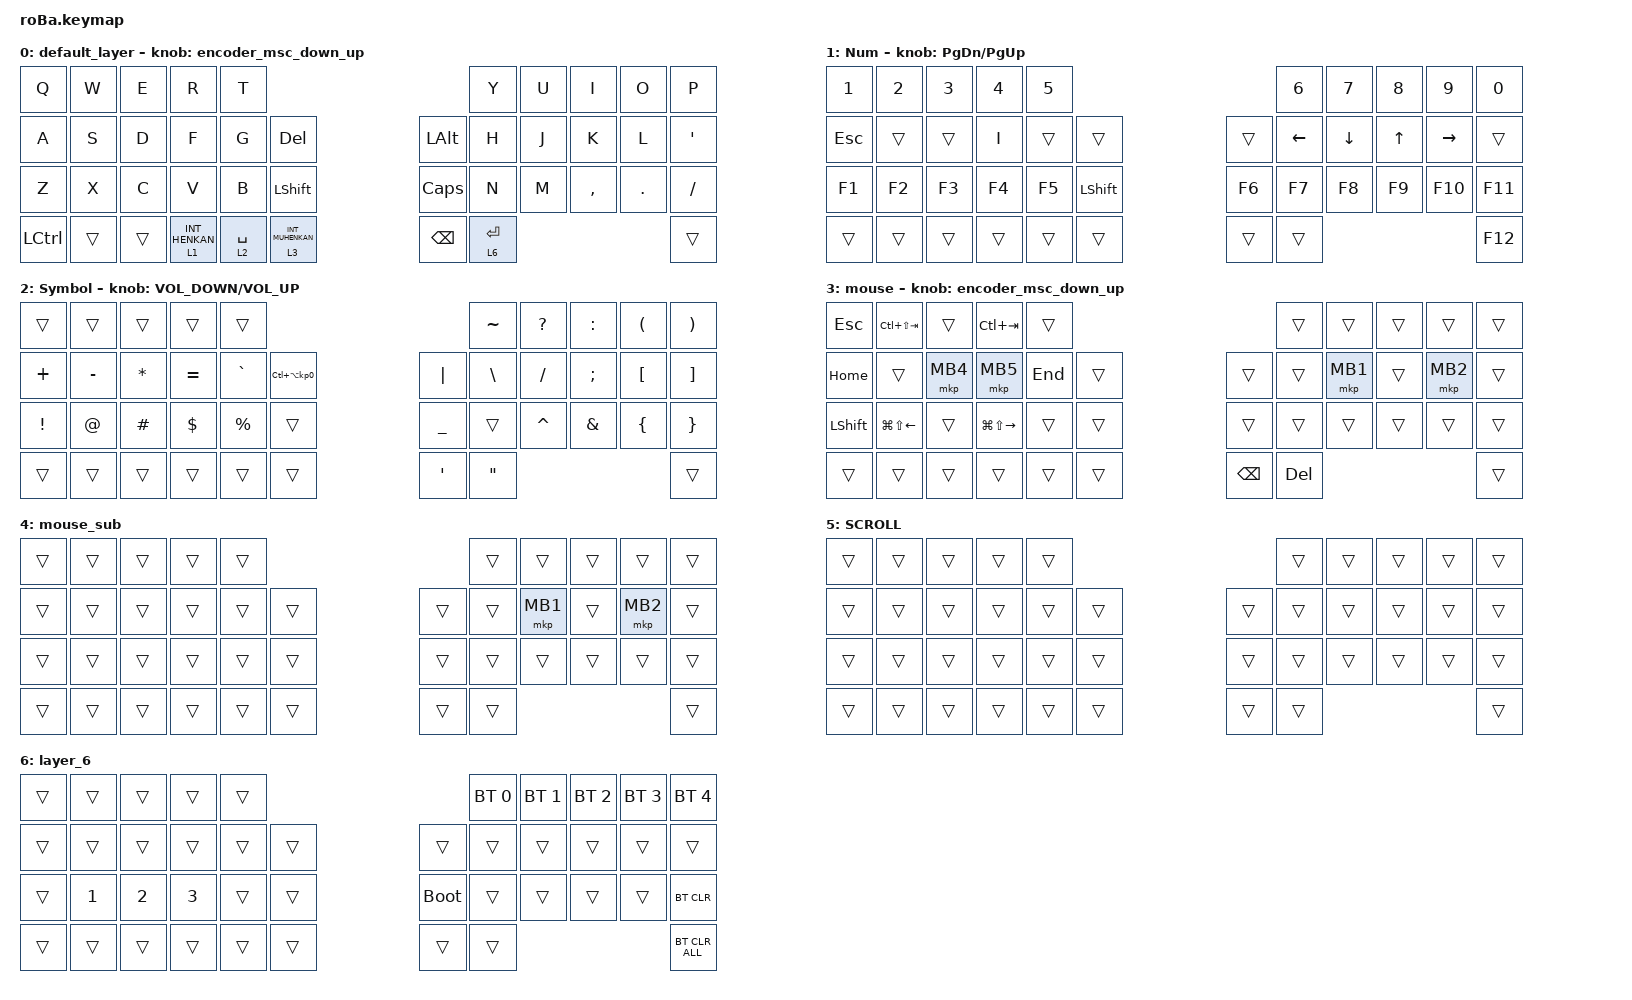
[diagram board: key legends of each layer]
#include <behaviors.dtsi>
#include <dt-bindings/zmk/bt.h>
#include <dt-bindings/zmk/keys.h>
#include <dt-bindings/zmk/pointing.h>

#define ZMK_POINTING_DEFAULT_SCRL_VAL 80

&mt {
    flavor = "balanced";
    quick-tap-ms = <0>;
};

&trackball {
    automouse-layer = <4>;
    scroll-layers = <5>;

    // arrows {
    //     layers = <3>;
    //     bindings =
    //         <&kp RIGHT_ARROW>,
    //         <&kp LEFT_ARROW>,
    //         <&kp UP_ARROW>,
    //         <&kp DOWN_ARROW>;
    //     tick = <10>;
    //     wait-ms = <5>;
    //     tap-ms = <5>;
    // };
};

/ {
    combos {
        compatible = "zmk,combos";

        tab {
            bindings = <&kp TAB>;
            key-positions = <11 12>;
        };

        shift_tab {
            bindings = <&kp LS(TAB)>;
            key-positions = <12 13>;
        };
    };

    macros {
        to_layer_0: to_layer_0 {
            compatible = "zmk,behavior-macro-one-param";
            #binding-cells = <1>;
            bindings = <&to 0 &macro_param_1to1 &kp MACRO_PLACEHOLDER>;
            label = "TO_LAYER_0";
        };
    };

    behaviors {
        lt_to_layer_0: lt_to_layer_0 {
            compatible = "zmk,behavior-hold-tap";
            label = "LAYER_TAP_TO_0";
            bindings = <&mo>, <&to_layer_0>;

            #binding-cells = <2>;
            tapping-term-ms = <200>;
        };

        encoder_msc_down_up: encoder_msc_down_up {
            compatible = "zmk,behavior-sensor-rotate";
            label = "ENCODER_MSC_DOWN_UP";
            #sensor-binding-cells = <0>;
            bindings = <&msc SCRL_DOWN>, <&msc SCRL_UP>;

            tap-ms = <20>;
        };
    };

    keymap {
        compatible = "zmk,keymap";

        default_layer {
            bindings = <
&kp Q      &kp W   &kp E   &kp R                        &kp T                                                          &kp Y        &kp U  &kp I      &kp O    &kp P
&kp A      &kp S   &kp D   &kp F                        &kp G        &kp DEL                            &kp LEFT_ALT   &kp H        &kp J  &kp K      &kp L    &kp SQT
&kp Z      &kp X   &kp C   &kp V                        &kp B        &kp LEFT_SHIFT                     &kp CAPSLOCK   &kp N        &kp M  &kp COMMA  &kp DOT  &kp SLASH
&kp LCTRL  &trans  &trans  &lt_to_layer_0 1 INT_HENKAN  &lt 2 SPACE  &lt_to_layer_0 3 INT_MUHENKAN      &kp BACKSPACE  &lt 6 ENTER                             &trans
            >;

            sensor-bindings = <&encoder_msc_down_up>;
        };

        Num {
            bindings = <
&kp NUMBER_1  &kp NUMBER_2  &kp NUMBER_3  &kp NUMBER_4  &kp NUMBER_5                              &kp NUMBER_6  &kp NUMBER_7  &kp NUMBER_8  &kp NUMBER_9  &kp NUMBER_0
&kp ESCAPE    &trans        &trans        &kp I         &trans        &trans              &trans  &kp LEFT      &kp DOWN      &kp UP        &kp RIGHT     &trans
&kp F1        &kp F2        &kp F3        &kp F4        &kp F5        &kp LEFT_SHIFT      &kp F6  &kp F7        &kp F8        &kp F9        &kp F10       &kp F11
&trans        &trans        &trans        &trans        &trans        &trans              &trans  &trans                                                  &kp F12
            >;

            sensor-bindings = <&inc_dec_kp PAGE_DOWN PAGE_UP>;
        };

        Symbol {
            bindings = <
&trans    &trans     &trans     &trans      &trans                                                      &kp TILDE          &kp QUESTION  &kp COLON  &kp LEFT_PARENTHESIS  &kp RIGHT_PARENTHESIS
&kp PLUS  &kp MINUS  &kp ASTRK  &kp EQUAL   &kp GRAVE    &kp LC(LA(KP_NUMBER_0))      &kp PIPE          &kp BACKSLASH      &kp SLASH     &kp SEMI   &kp LEFT_BRACKET      &kp RIGHT_BRACKET
&kp EXCL  &kp AT     &kp HASH   &kp DOLLAR  &kp PERCENT  &trans                       &kp UNDER         &trans             &kp CARET     &kp AMPS   &kp LEFT_BRACE        &kp RIGHT_BRACE
&trans    &trans     &trans     &trans      &trans       &trans                       &kp SINGLE_QUOTE  &kp DOUBLE_QUOTES                                                 &trans
            >;

            sensor-bindings = <&inc_dec_kp C_VOLUME_DOWN C_VOLUME_UP>;
        };

        mouse {
            bindings = <
&kp ESCAPE      &kp LC(LS(TAB))         &trans    &kp LC(TAB)              &trans                              &trans      &trans    &trans  &trans    &trans
&kp HOME        &trans                  &mkp MB4  &mkp MB5                 &kp END  &trans      &trans         &trans      &mkp MB1  &trans  &mkp MB2  &trans
&kp LEFT_SHIFT  &kp LG(LS(LEFT_ARROW))  &trans    &kp LG(LS(RIGHT_ARROW))  &trans   &trans      &trans         &trans      &trans    &trans  &trans    &trans
&trans          &trans                  &trans    &trans                   &trans   &trans      &kp BACKSPACE  &kp DELETE                              &trans
            >;

            sensor-bindings = <&encoder_msc_down_up>;
        };

        mouse_sub {
            bindings = <
&trans  &trans  &trans  &trans  &trans                      &trans  &trans    &trans  &trans    &trans
&trans  &trans  &trans  &trans  &trans  &trans      &trans  &trans  &mkp MB1  &trans  &mkp MB2  &trans
&trans  &trans  &trans  &trans  &trans  &trans      &trans  &trans  &trans    &trans  &trans    &trans
&trans  &trans  &trans  &trans  &trans  &trans      &trans  &trans                              &trans
            >;
        };

        SCROLL {
            bindings = <
&trans  &trans  &trans  &trans  &trans                      &trans  &trans  &trans  &trans  &trans
&trans  &trans  &trans  &trans  &trans  &trans      &trans  &trans  &trans  &trans  &trans  &trans
&trans  &trans  &trans  &trans  &trans  &trans      &trans  &trans  &trans  &trans  &trans  &trans
&trans  &trans  &trans  &trans  &trans  &trans      &trans  &trans                          &trans
            >;
        };

        layer_6 {
            bindings = <
&trans  &trans        &trans        &trans        &trans                           &bt BT_SEL 0  &bt BT_SEL 1  &bt BT_SEL 2  &bt BT_SEL 3  &bt BT_SEL 4
&trans  &trans        &trans        &trans        &trans  &trans      &trans       &trans        &trans        &trans        &trans        &trans
&trans  &kp NUMBER_1  &kp NUMBER_2  &kp NUMBER_3  &trans  &trans      &bootloader  &trans        &trans        &trans        &trans        &bt BT_CLR
&trans  &trans        &trans        &trans        &trans  &trans      &trans       &trans                                                  &bt BT_CLR_ALL
            >;
        };
    };
};
